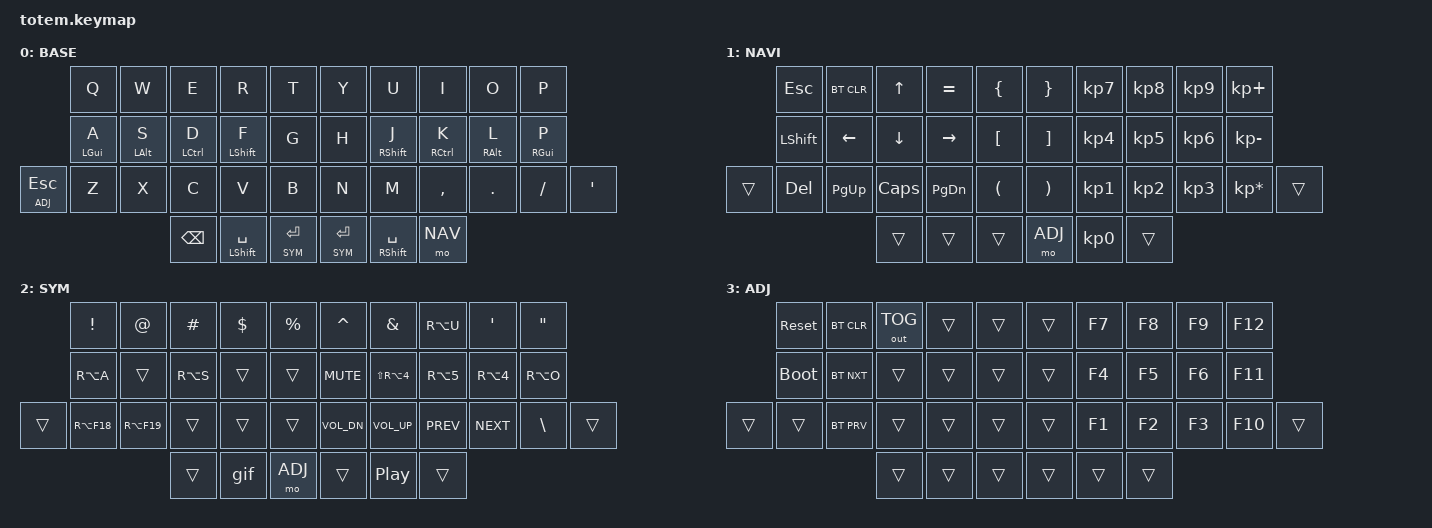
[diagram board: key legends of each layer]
//
//                                                        ▀▀▀▀▀     ▀▀▀▀▀          ▀▀█▀▀
//                                                        ▄▀▀▀▄  ▄  ▄▀▀▀▄  ▄  ▄▀▀▀▄  █  ▄▀▀▀▄
//                                                        █   █  █  █   █  █  █   █  █  █   █
//                                                         ▀▀▀   █   ▀▀▀   █   ▀▀▀   ▀   ▀▀▀
//                                                               █      ▄▄▄█▄▄▄    █   █  
//                                                               ▀      █  █  █     █▄█
//                                                             ▀▀▀▀▀    █  █  █      ▀
//                                                                      ▀  ▀  ▀
//
// ▄▄▄▄▄▄▄▄▄▄▄▄▄▄▄▄▄▄▄▄▄▄▄▄▄▄▄▄▄▄▄▄▄▄▄▄▄▄▄▄▄▄▄▄▄▄▄▄▄▄▄▄▄▄▄▄▄▄▄▄▄▄▄▄▄▄▄▄▄▄▄▄▄▄▄▄▄▄▄▄▄▄▄▄▄▄▄▄▄▄▄▄▄▄▄▄▄▄▄▄▄▄▄▄▄▄▄▄▄▄▄▄▄▄▄▄▄▄▄▄▄▄▄▄▄▄▄▄▄▄▄▄▄▄▄▄▄▄▄▄▄▄▄▄▄▄▄▄▄
       

#include <behaviors.dtsi>
#include <dt-bindings/zmk/keys.h>
#include <dt-bindings/zmk/bt.h>
#include <dt-bindings/zmk/outputs.h>

#define BASE 0
#define NAV  1
#define SYM  2
#define ADJ  3

&mt {
  global-quick-tap;
  quick-tap-ms = <150>;
  flavor = "tap-preferred";
  tapping-term-ms = <170>;
};
&lt {
  global-quick-tap;
  quick-tap-ms = <150>;
  flavor = "tap-preferred";
  tapping-term-ms = <170>;
  require-prior-idle-ms = <125>;
};
/ {
    behaviors {
        hm: homerow_mods {
            compatible = "zmk,behavior-hold-tap";
            #binding-cells = <2>;
            tapping-term-ms = <150>;
            quick-tap-ms = <0>;
            flavor = "tap-preferred";
            require-prior-idle-ms = <125>;
            bindings = <&kp>, <&kp>;
        };
    };
    combos {
            compatible = "zmk,combos";
            combo_esc {
                timeout-ms = <50>;
                key-positions = <0 1>;
                bindings = <&kp ESC>;
            };
    };

    macros {
        gif: gif {
            label = "giphy";
            compatible = "zmk,behavior-macro";
            #binding-cells = <0>;
            bindings
                = <&macro_press &kp LSHFT>
                , <&macro_tap &kp N2>
                , <&macro_release &kp LSHFT>
                , <&macro_tap &kp G &kp I &kp F>
                ;
        };
    };

        keymap {
                compatible = "zmk,keymap";
// ▄▄▄▄▄▄▄▄▄▄▄▄▄▄▄▄▄▄▄▄▄▄▄▄▄▄▄▄▄▄▄▄▄▄▄▄▄▄▄▄▄▄▄▄▄▄▄▄▄▄▄▄▄▄▄▄▄▄▄▄▄▄▄▄▄▄▄▄▄▄▄▄▄▄▄▄▄▄▄▄▄▄▄▄▄▄▄▄▄▄▄▄▄▄▄▄▄▄▄▄▄▄▄▄▄▄▄▄▄▄▄▄▄▄▄▄▄▄▄▄▄▄▄▄▄▄▄▄▄▄▄▄▄▄▄▄▄▄▄▄▄▄▄▄▄▄▄▄▄

                base_layer {
// ┏━━━━━━━━━━━━━━━━━━━━━━━━━━━━━━━━━━━━━━━┓
label= "BASE"                              ;
// ┗━━━━━━━━━━━━━━━━━━━━━━━━━━━━━━━━━━━━━━━┛
//             ┏━━━━━━━━━━━┳━━━━━━━━━━━┳━━━━━━━━━━━┳━━━━━━━━━━━┳━━━━━━━━━━━┓   ┏━━━━━━━━━━━┳━━━━━━━━━━━┳━━━━━━━━━━━┳━━━━━━━━━━━┳━━━━━━━━━━━┓
//             ┃     Q     ┃     W     ┃     F     ┃     P     ┃     G     ┃   ┃     J     ┃     L     ┃     U     ┃     Y     ┃     ;     ┃
//             ┣━━━━━━━━━━━╋━━━━━━━━━━━╋━━━━━━━━━━━╋━━━━━━━━━━━╋━━━━━━━━━━━┫   ┣━━━━━━━━━━━╋━━━━━━━━━━━╋━━━━━━━━━━━╋━━━━━━━━━━━╋━━━━━━━━━━━┫
//             ┃     A     ┃     R     ┃     S     ┃     T     ┃     D     ┃   ┃     H     ┃     N     ┃     E     ┃     I     ┃     O     ┃
// ┏━━━━━━━━━━━╋━━━━━━━━━━━╋━━━━━━━━━━━╋━━━━━━━━━━━╋━━━━━━━━━━━╋━━━━━━━━━━━┫   ┣━━━━━━━━━━━╋━━━━━━━━━━━╋━━━━━━━━━━━╋━━━━━━━━━━━╋━━━━━━━━━━━╋━━━━━━━━━━━┓
// ┃           ┃     Z     ┃     X     ┃     C     ┃     V     ┃     B     ┃   ┃     K     ┃     M     ┃     ,     ┃     .     ┃     /     ┃           ┃
// ┗━━━━━━━━━━━┻━━━━━━━━━━━┻━━━━━━━━━━━╋━━━━━━━━━━━╋━━━━━━━━━━━╋━━━━━━━━━━━┫   ┣━━━━━━━━━━━╋━━━━━━━━━━━╋━━━━━━━━━━━╋━━━━━━━━━━━┻━━━━━━━━━━━┻━━━━━━━━━━━┛
//                                     ┃           ┃    TAB    ┃    SPC    ┃   ┃   ENTER   ┃   BSPC    ┃           ┃
//                                     ┗━━━━━━━━━━━┻━━━━━━━━━━━┻━━━━━━━━━━━┛   ┗━━━━━━━━━━━┻━━━━━━━━━━━┻━━━━━━━━━━━┛
 bindings = <
// ╷           ╷           ╷           ╷           ╷           ╷           ╷   ╷           ╷           ╷           ╷           ╷           ╷           ╷

                &kp Q       &kp W       &kp E       &kp R       &kp T           &kp Y       &kp U       &kp I       &kp O       &kp P
                &hm LGUI A  &hm LALT S  &hm LCTRL D &hm LSHFT F &kp G           &kp H       &hm RSHFT J &hm RCTRL K &hm RALT L  &hm RGUI P
    &lt ADJ ESC       &kp Z       &kp X       &kp C       &kp V       &kp B           &kp N       &kp M       &kp COMMA   &kp DOT     &kp FSLH    &kp SQT
                                        &kp BSPC     &hm LSHIFT SPACE     &lt SYM RET   &lt SYM RET &hm RSHIFT SPACE    &mo NAV
                        >;
                };

// ▄▄▄▄▄▄▄▄▄▄▄▄▄▄▄▄▄▄▄▄▄▄▄▄▄▄▄▄▄▄▄▄▄▄▄▄▄▄▄▄▄▄▄▄▄▄▄▄▄▄▄▄▄▄▄▄▄▄▄▄▄▄▄▄▄▄▄▄▄▄▄▄▄▄▄▄▄▄▄▄▄▄▄▄▄▄▄▄▄▄▄▄▄▄▄▄▄▄▄▄▄▄▄▄▄▄▄▄▄▄▄▄▄▄▄▄▄▄▄▄▄▄▄▄▄▄▄▄▄▄▄▄▄▄▄▄▄▄▄▄▄▄▄▄▄▄▄▄▄


                nav_layer {
// ┏━━━━━━━━━━━━━━━━━━━━━━━━━━━━━━━━━━━━━━━┓
label= "NAVI"                              ;
// ┗━━━━━━━━━━━━━━━━━━━━━━━━━━━━━━━━━━━━━━━┛
//             ┏━━━━━━━━━━━┳━━━━━━━━━━━┳━━━━━━━━━━━┳━━━━━━━━━━━┳━━━━━━━━━━━┓   ┏━━━━━━━━━━━┳━━━━━━━━━━━┳━━━━━━━━━━━┳━━━━━━━━━━━┳━━━━━━━━━━━┓
//             ┃           ┃           ┃     UP    ┃           ┃     {     ┃   ┃     }     ┃     7     ┃     8     ┃     9     ┃     +     ┃
//             ┣━━━━━━━━━━━╋━━━━━━━━━━━╋━━━━━━━━━━━╋━━━━━━━━━━━╋━━━━━━━━━━━┫   ┣━━━━━━━━━━━╋━━━━━━━━━━━╋━━━━━━━━━━━╋━━━━━━━━━━━╋━━━━━━━━━━━┫
//             ┃   SHIFT   ┃   LEFT    ┃    DOWN   ┃   RIGHT   ┃     [     ┃   ┃     ]     ┃     4     ┃     5     ┃     6     ┃     -     ┃
// ┏━━━━━━━━━━━╋━━━━━━━━━━━╋━━━━━━━━━━━╋━━━━━━━━━━━╋━━━━━━━━━━━╋━━━━━━━━━━━┫   ┣━━━━━━━━━━━╋━━━━━━━━━━━╋━━━━━━━━━━━╋━━━━━━━━━━━╋━━━━━━━━━━━╋━━━━━━━━━━━┓
// ┃           ┃           ┃   P UP    ┃  C LOCK   ┃  P DOWN   ┃     (     ┃   ┃     )     ┃     1     ┃     2     ┃     3     ┃     *     ┃           ┃
// ┗━━━━━━━━━━━┻━━━━━━━━━━━┻━━━━━━━━━━━╋━━━━━━━━━━━╋━━━━━━━━━━━╋━━━━━━━━━━━┫   ┣━━━━━━━━━━━╋━━━━━━━━━━━╋━━━━━━━━━━━╋━━━━━━━━━━━┻━━━━━━━━━━━┻━━━━━━━━━━━┛
//                                     ┃           ┃    TAB    ┃    SPC    ┃   ┃    DEL    ┃     0     ┃           ┃
//                                     ┗━━━━━━━━━━━┻━━━━━━━━━━━┻━━━━━━━━━━━┛   ┗━━━━━━━━━━━┻━━━━━━━━━━━┻━━━━━━━━━━━┛
 bindings = <
// ╷           ╷           ╷           ╷           ╷           ╷           ╷   ╷           ╷           ╷           ╷           ╷           ╷           ╷

                &kp ESC     &bt BT_CLR  &kp UP      &kp EQUAL   &kp LBRC        &kp RBRC    &kp KP_N7   &kp KP_N8   &kp KP_N9   &kp KP_PLUS
                &kp LSHFT   &kp LEFT    &kp DOWN    &kp RIGHT   &kp LBKT        &kp RBKT    &kp KP_N4   &kp KP_N5   &kp KP_N6   &kp KP_MINUS
    &trans      &kp DEL     &kp PG_UP   &kp CAPS    &kp PG_DN   &kp LPAR        &kp RPAR    &kp KP_N1   &kp KP_N2   &kp KP_N3   &kp KP_MULTIPLY &trans      
                                        &trans      &trans      &trans          &mo ADJ     &kp KP_N0   &trans      
                        >;
                };

// ▄▄▄▄▄▄▄▄▄▄▄▄▄▄▄▄▄▄▄▄▄▄▄▄▄▄▄▄▄▄▄▄▄▄▄▄▄▄▄▄▄▄▄▄▄▄▄▄▄▄▄▄▄▄▄▄▄▄▄▄▄▄▄▄▄▄▄▄▄▄▄▄▄▄▄▄▄▄▄▄▄▄▄▄▄▄▄▄▄▄▄▄▄▄▄▄▄▄▄▄▄▄▄▄▄▄▄▄▄▄▄▄▄▄▄▄▄▄▄▄▄▄▄▄▄▄▄▄▄▄▄▄▄▄▄▄▄▄▄▄▄▄▄▄▄▄▄▄▄


                sim_layer {
// ┏━━━━━━━━━━━━━━━━━━━━━━━━━━━━━━━━━━━━━━━┓
label= "SYM"                               ;
// ┗━━━━━━━━━━━━━━━━━━━━━━━━━━━━━━━━━━━━━━━┛
//             ┏━━━━━━━━━━━┳━━━━━━━━━━━┳━━━━━━━━━━━┳━━━━━━━━━━━┳━━━━━━━━━━━┓   ┏━━━━━━━━━━━┳━━━━━━━━━━━┳━━━━━━━━━━━┳━━━━━━━━━━━┳━━━━━━━━━━━┓
//             ┃     !     ┃     @     ┃     #     ┃     $     ┃     %     ┃   ┃     ˆ     ┃     &     ┃     Ü     ┃     '     ┃     "     ┃
//             ┣━━━━━━━━━━━╋━━━━━━━━━━━╋━━━━━━━━━━━╋━━━━━━━━━━━╋━━━━━━━━━━━┫   ┣━━━━━━━━━━━╋━━━━━━━━━━━╋━━━━━━━━━━━╋━━━━━━━━━━━╋━━━━━━━━━━━┫
//             ┃     Ä     ┃           ┃    SZ     ┃           ┃           ┃   ┃   MUTE    ┃   YEN     ┃   EURO    ┃  POUND    ┃     Ö     ┃
// ┏━━━━━━━━━━━╋━━━━━━━━━━━╋━━━━━━━━━━━╋━━━━━━━━━━━╋━━━━━━━━━━━╋━━━━━━━━━━━┫   ┣━━━━━━━━━━━╋━━━━━━━━━━━╋━━━━━━━━━━━╋━━━━━━━━━━━╋━━━━━━━━━━━╋━━━━━━━━━━━┓
// ┃           ┃  EMAIL1   ┃  EMAIL2   ┃           ┃           ┃           ┃   ┃   VOL-    ┃   VOL+    ┃   LAST    ┃   NEXT    ┃     \     ┃           ┃
// ┗━━━━━━━━━━━┻━━━━━━━━━━━┻━━━━━━━━━━━╋━━━━━━━━━━━╋━━━━━━━━━━━╋━━━━━━━━━━━┫   ┣━━━━━━━━━━━╋━━━━━━━━━━━╋━━━━━━━━━━━╋━━━━━━━━━━━┻━━━━━━━━━━━┻━━━━━━━━━━━┛
//                                     ┃           ┃    GIF    ┃    ADJ    ┃   ┃           ┃           ┃           ┃
//                                     ┗━━━━━━━━━━━┻━━━━━━━━━━━┻━━━━━━━━━━━┛   ┗━━━━━━━━━━━┻━━━━━━━━━━━┻━━━━━━━━━━━┛
 bindings = <
// ╷           ╷           ╷           ╷           ╷           ╷           ╷   ╷           ╷           ╷           ╷           ╷           ╷           ╷

                &kp EXCL    &kp AT      &kp HASH    &kp DLLR    &kp PRCNT       &kp CARET   &kp AMPS    &kp RA(U)   &kp SQT     &kp DQT       
                &kp RA(A)   &trans      &kp RA(S)   &trans      &trans          &kp C_MUTE  &kp LS(RA(N4)) &kp RA(N5) &kp RA(N4)   &kp RA(O) 
    &trans      &kp RA(F18) &kp RA(F19) &trans      &trans      &trans          &kp C_VOL_DN &kp C_VOL_UP &kp C_PREV &kp C_NEXT  &kp BSLH   &trans         
                                        &trans      &gif        &mo ADJ         &trans      &kp C_PP    &trans      
                        >;
                };

// ▄▄▄▄▄▄▄▄▄▄▄▄▄▄▄▄▄▄▄▄▄▄▄▄▄▄▄▄▄▄▄▄▄▄▄▄▄▄▄▄▄▄▄▄▄▄▄▄▄▄▄▄▄▄▄▄▄▄▄▄▄▄▄▄▄▄▄▄▄▄▄▄▄▄▄▄▄▄▄▄▄▄▄▄▄▄▄▄▄▄▄▄▄▄▄▄▄▄▄▄▄▄▄▄▄▄▄▄▄▄▄▄▄▄▄▄▄▄▄▄▄▄▄▄▄▄▄▄▄▄▄▄▄▄▄▄▄▄▄▄▄▄▄▄▄▄▄▄▄


                adjust_layer {
// ┏━━━━━━━━━━━━━━━━━━━━━━━━━━━━━━━━━━━━━━━┓
label= "ADJ"                               ;
// ┗━━━━━━━━━━━━━━━━━━━━━━━━━━━━━━━━━━━━━━━┛
//             ┏━━━━━━━━━━━┳━━━━━━━━━━━┳━━━━━━━━━━━┳━━━━━━━━━━━┳━━━━━━━━━━━┓   ┏━━━━━━━━━━━┳━━━━━━━━━━━┳━━━━━━━━━━━┳━━━━━━━━━━━┳━━━━━━━━━━━┓
//             ┃   RESET   ┃ BT CLEAR  ┃  OUT TOG  ┃           ┃           ┃   ┃           ┃    F7     ┃    F8     ┃    F9     ┃    F12    ┃
//             ┣━━━━━━━━━━━╋━━━━━━━━━━━╋━━━━━━━━━━━╋━━━━━━━━━━━╋━━━━━━━━━━━┫   ┣━━━━━━━━━━━╋━━━━━━━━━━━╋━━━━━━━━━━━╋━━━━━━━━━━━╋━━━━━━━━━━━┫
//             ┃ BOOTLOAD  ┃ BT NEXT   ┃           ┃           ┃           ┃   ┃           ┃    F4     ┃    F5     ┃    F6     ┃    F11    ┃
// ┏━━━━━━━━━━━╋━━━━━━━━━━━╋━━━━━━━━━━━╋━━━━━━━━━━━╋━━━━━━━━━━━╋━━━━━━━━━━━┫   ┣━━━━━━━━━━━╋━━━━━━━━━━━╋━━━━━━━━━━━╋━━━━━━━━━━━╋━━━━━━━━━━━╋━━━━━━━━━━━┓
// ┃           ┃           ┃ BT PREV   ┃           ┃           ┃           ┃   ┃           ┃    F1     ┃    F2     ┃    F3     ┃    F10    ┃           ┃
// ┗━━━━━━━━━━━┻━━━━━━━━━━━┻━━━━━━━━━━━╋━━━━━━━━━━━╋━━━━━━━━━━━╋━━━━━━━━━━━┫   ┣━━━━━━━━━━━╋━━━━━━━━━━━╋━━━━━━━━━━━╋━━━━━━━━━━━┻━━━━━━━━━━━┻━━━━━━━━━━━┛
//                                     ┃           ┃           ┃           ┃   ┃           ┃           ┃           ┃
//                                     ┗━━━━━━━━━━━┻━━━━━━━━━━━┻━━━━━━━━━━━┛   ┗━━━━━━━━━━━┻━━━━━━━━━━━┻━━━━━━━━━━━┛
 bindings = <
// ╷           ╷           ╷           ╷           ╷           ╷           ╷   ╷           ╷           ╷           ╷           ╷           ╷           ╷

                &sys_reset  &bt BT_CLR &out OUT_TOG &trans      &trans          &trans      &kp F7      &kp F8      &kp F9      &kp F12
                &bootloader &bt BT_NXT  &trans      &trans      &trans          &trans      &kp F4      &kp F5      &kp F6      &kp F11  
    &trans      &trans      &bt BT_PRV  &trans      &trans      &trans          &trans      &kp F1      &kp F2      &kp F3      &kp F10     &trans         
                                        &trans      &trans      &trans          &trans      &trans      &trans      
                        >;
                };
        };
};
